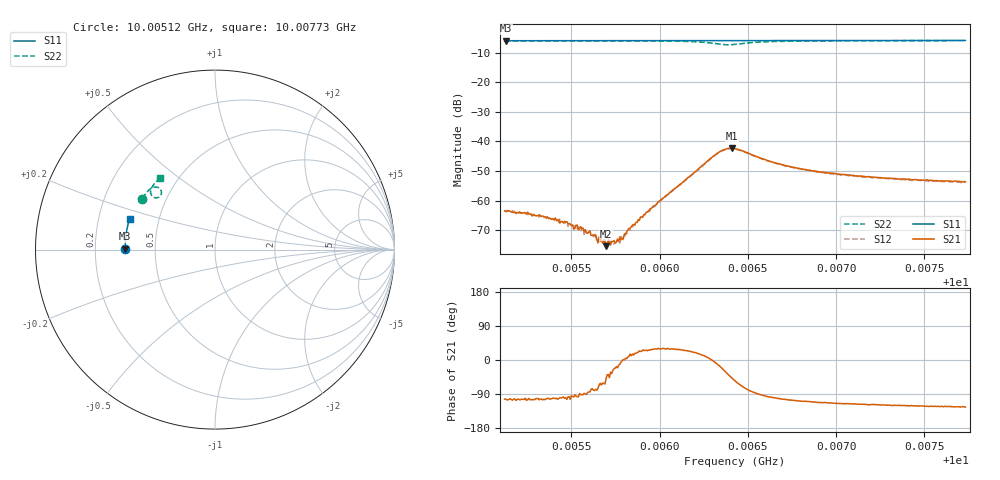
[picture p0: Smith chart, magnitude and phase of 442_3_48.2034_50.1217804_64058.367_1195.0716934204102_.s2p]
#  HZ  S  RI  R  50.00
! Rohde & Schwarz Vector Network Analyzer
! Rohde-Schwarz,ZNB20-2Port,1311601062101988,3.16
! Created: UTC 3/20/2024, 11:55:53 AM
! freq[Hz]  re:S11  im:S11  re:S21  im:S21  re:S12  im:S12  re:S22  im:S22
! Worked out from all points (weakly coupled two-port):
!   401 points, 10.00512 GHz to 10.00773 GHz, reference 50 ohm
!   highest |S21| = -42.31 dB at 10.00641 GHz (marker M1); lowest = -75.4 dB at 10.0057 GHz (marker M2)
!   lowest |S11| = -6.0 dB at 10.00513 GHz (marker M3), VSWR 3.00, Z = 16.7 + j0.247 ohm
!   |S11| at or under -10 dB: nowhere
!   |S22| runs from -7.4 to -6.0 dB; largest |S21 - S12| = 0.0005
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1.0005122e10  -0.5002 0.00514  -0.000154 -0.000652  -0.00013 -0.000641  -0.405 0.2846
1.0005129e10  -0.5001 0.00555  -0.000148 -0.000637  -0.000106 -0.000677  -0.4047 0.285
1.0005364e10  -0.5003 0.0209  -0.000108 -0.000524  -7.74e-05 -0.000515  -0.3957 0.2989
1.0005475e10  -0.5002 0.0281  -0.000107 -0.00043  -6.47e-05 -0.000402  -0.3909 0.3055
1.0005501e10  -0.5002 0.0298  -2.6e-05 -0.000378  -1.69e-05 -0.000388  -0.3897 0.307
1.0005559e10  -0.5001 0.0336  -8.16e-06 -0.000335  -1.22e-05 -0.000333  -0.387 0.3105
1.0005605e10  -0.4999 0.0367  3.02e-05 -0.000303  4.65e-05 -0.000301  -0.3848 0.3133
1.0005657e10  -0.4998 0.0401  9.83e-05 -0.000223  6.12e-05 -0.000199  -0.3822 0.3165
1.0005696e10  -0.4995 0.0426  0.000109 -0.000131  0.000111 -0.00016  -0.3801 0.319
1.0005736e10  -0.4994 0.0451  0.000179 -9.19e-05  0.000163 -8.41e-05  -0.3782 0.3213
1.0005788e10  -0.4992 0.0484  0.000229 -9.41e-06  0.000237 -6.8e-06  -0.375 0.3246
1.0005833e10  -0.499 0.0514  0.000331 9.32e-05  0.000305 8.2e-05  -0.3723 0.3276
1.0005879e10  -0.4988 0.0544  0.000443 0.00017  0.000433 0.00019  -0.3693 0.3306
1.0005997e10  -0.4982 0.062  0.000848 0.00048  0.000786 0.000507  -0.36 0.3385
1.0006316e10  -0.4951 0.0825  0.00592 -0.000734  0.00581 -0.000427  -0.3014 0.3313
1.0006362e10  -0.4947 0.0851  0.00649 -0.00309  0.0065 -0.00271  -0.2995 0.3095
1.0006408e10  -0.4944 0.0879  0.00524 -0.00559  0.00544 -0.00518  -0.3147 0.2914
1.0006427e10  -0.4942 0.089  0.00431 -0.00618  0.00457 -0.00583  -0.324 0.2886
1.0006642e10  -0.4926 0.1028  -0.000707 -0.0044  -0.000497 -0.00439  -0.3585 0.3267
1.0006864e10  -0.4901 0.1169  -0.00113 -0.00299  -0.000946 -0.00297  -0.3492 0.3513
1.0007301e10  -0.4835 0.1444  -0.00116 -0.00208  -0.00105 -0.00208  -0.3269 0.3788
1.0007732e10  -0.4756 0.1711  -0.00117 -0.00171  -0.00108 -0.00172  -0.305 0.3998
